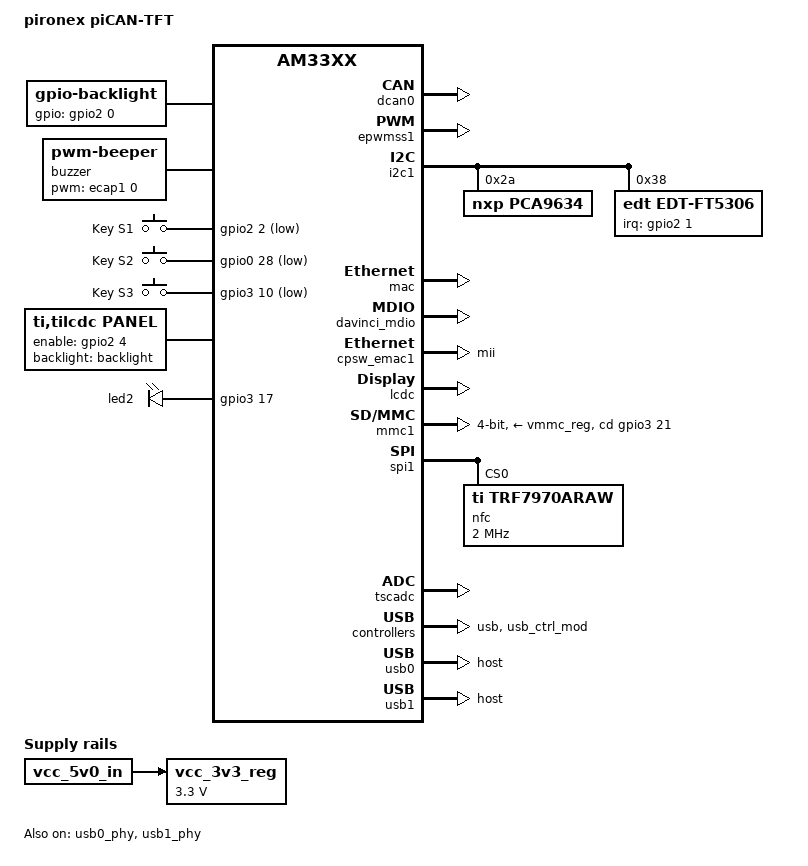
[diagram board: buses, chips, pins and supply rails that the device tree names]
/*
 * Copyright (C) 2016 pironex GmbH (http://www.pironex.de)
 *
 * This program is free software; you can redistribute it and/or modify
 * it under the terms of the GNU General Public License version 2 as
 * published by the Free Software Foundation.
 */
/dts-v1/;

#include "am335x-pia-pm.dtsi"
#include <dt-bindings/interrupt-controller/irq.h>

/ {
	model = "pironex piCAN-TFT";
	compatible = "pironex,am335x-pia-cantft", "pironex,am335x-pia-pm", "ti,am33xx";

	vcc_3v3_reg: fixedregulator@1 {
		compatible = "regulator-fixed";
		regulator-name = "vcc_3v3_reg";
		regulator-min-microvolt = <3300000>;
		regulator-max-microvolt = <3300000>;
		regulator-boot-on;
		regulator-always-on;
		vin-supply = <&vcc_5v0_in>; /* turned on with vaux2, supplied by vcc_5v0 */
	};

	backlight: backlight {
		pinctrl-names = "default";
		pinctrl-0 = <&backlight_pins>;
		
		compatible = "gpio-backlight";
		gpios = <&gpio2 0 GPIO_ACTIVE_HIGH>;
		default-on;
	};

	buzzer: buzzer {
		compatible = "pwm-beeper";
		pwms = <&ecap1 0 50000 1>;
	};

	buttons: gpio_buttons@0 {
		compatible = "gpio-keys";
		#address-cells = <1>;
		#size-cells = <0>;

		switch@1 {
			label = "Key S1";
			linux,code = <59>;
			gpios = <&gpio2 2 GPIO_ACTIVE_LOW>;
		};
		switch@2 {
			label = "Key S2";
			linux,code = <60>;
			gpios = <&gpio0 28 GPIO_ACTIVE_LOW>;
		};
		switch@3 {
			label = "Key S3";
			linux,code = <61>;
			gpios = <&gpio3 10 GPIO_ACTIVE_LOW>;
		};
	};

	panel {
		compatible = "ti,tilcdc,panel";
		/*pinctrl-names = "default", "sleep";*/
		pinctrl-names = "default";
		pinctrl-0 = <&lcd_pins_default>;
		/*pinctrl-1 = <&lcd_pins_sleep>;*/
		backlight = <&backlight>;
		enable-gpios = <&gpio2 4 GPIO_ACTIVE_HIGH>;
		status = "okay";

		panel-info {
			ac-bias           = <255>;
			ac-bias-intrpt    = <0>;
			dma-burst-sz      = <16>;
			bpp               = <32>;
			fdd               = <0x80>;
			sync-edge         = <0>;
			sync-ctrl         = <1>;
			raster-order      = <0>;
			fifo-th           = <0>;
		};

		display-timings {
			480x272 {
				hactive         = <480>;
				vactive         = <272>;
				hback-porch     = <43>; /* 2 */
				hfront-porch    = <8>; /* 2 */
				hsync-len       = <4>; /* 41 */
				vback-porch     = <12>; /* 2 */
				vfront-porch    = <4>; /* 2 */
				vsync-len       = <10>; /* 10 */
				clock-frequency = <9000000>;
				hsync-active    = <0>;
				vsync-active    = <0>;
			};
		};
	};
};

&am33xx_pinmux {
	board_pins: pinmux_board_pins {
		pinctrl-single,pins = <
			0x19C (PIN_OUTPUT | MUX_MODE7)	/* LED2: mcasp0_ahclkr.gpio3_17 */
		>;
	};

	backlight_pins: pinmux_backlight_pins {
		pinctrl-single,pins = <
			0x088 (PIN_OUTPUT | MUX_MODE7)	/* gpmc_csn3.gpio2_0 */
		>;
	};

	cpsw_default: cpsw_default {
		pinctrl-single,pins = <
			/* Slave 2 */
			0x040 (PIN_OUTPUT_PULLDOWN | MUX_MODE1)	/* gpmc_a0.gmii2_txen */
			0x044 (PIN_INPUT_PULLUP | MUX_MODE1)	/* gpmc_a1.mii2_rxdv */
			0x048 (PIN_OUTPUT_PULLDOWN | MUX_MODE1)	/* gpmc_a2.mii2_txd3 */
			0x04c (PIN_OUTPUT_PULLDOWN | MUX_MODE1)	/* gpmc_a3.mii2_txd2 */
			0x050 (PIN_OUTPUT_PULLDOWN | MUX_MODE1)	/* gpmc_a4.mii2_txd1 */
			0x054 (PIN_OUTPUT_PULLDOWN | MUX_MODE1)	/* gpmc_a5.mii2_txd0 */
			0x058 (PIN_INPUT_PULLUP | MUX_MODE1)	/* gpmc_a6.mii2_txclk */
			0x05c (PIN_INPUT_PULLUP | MUX_MODE1)	/* gpmc_a7.mii2_rxclk */
			0x060 (PIN_INPUT_PULLUP | MUX_MODE1)	/* gpmc_a8.mii2_rxd3 */
			0x064 (PIN_INPUT_PULLUP | MUX_MODE1)	/* gpmc_a9.mii2_rxd2 */
			0x068 (PIN_INPUT_PULLUP | MUX_MODE1)	/* gpmc_a10.mii2_rxd1 */
			0x06c (PIN_INPUT_PULLUP | MUX_MODE1)	/* gpmc_a11.mii2_rxd0 */
			0x070 (PIN_INPUT_PULLUP | MUX_MODE1)	/* gpmc_wait0.gmii2_crs */
			0x074 (PIN_INPUT_PULLUP | MUX_MODE1)	/* gpmc_wpn.gmii2_rxerr */
			0x078 (PIN_INPUT_PULLUP | MUX_MODE1)	/* gpmc_be1n.gmii2_col */
		>;
	};

	cpsw_sleep: cpsw_sleep {
		pinctrl-single,pins = <
			/* Slave 2 reset value */
			0x040 (PIN_INPUT_PULLDOWN | MUX_MODE7)
			0x044 (PIN_INPUT_PULLDOWN | MUX_MODE7)
			0x048 (PIN_INPUT_PULLDOWN | MUX_MODE7)
			0x04c (PIN_INPUT_PULLDOWN | MUX_MODE7)
			0x050 (PIN_INPUT_PULLDOWN | MUX_MODE7)
			0x054 (PIN_INPUT_PULLDOWN | MUX_MODE7)
			0x058 (PIN_INPUT_PULLDOWN | MUX_MODE7)
			0x05c (PIN_INPUT_PULLDOWN | MUX_MODE7)
			0x060 (PIN_INPUT_PULLDOWN | MUX_MODE7)
			0x064 (PIN_INPUT_PULLDOWN | MUX_MODE7)
			0x068 (PIN_INPUT_PULLDOWN | MUX_MODE7)
			0x06c (PIN_INPUT_PULLDOWN | MUX_MODE7)
			0x070 (PIN_INPUT_PULLDOWN | MUX_MODE7)
			0x074 (PIN_INPUT_PULLDOWN | MUX_MODE7)
			0x078 (PIN_INPUT_PULLDOWN | MUX_MODE7)
		>;
	};

	davinci_mdio_default: davinci_mdio_default {
		pinctrl-single,pins = <
			/* MDIO */
			0x148 (PIN_INPUT_PULLUP | SLEWCTRL_FAST | MUX_MODE0)	/* mdio_data.mdio_data */
			0x14c (PIN_OUTPUT_PULLUP | MUX_MODE0)			/* mdio_clk.mdio_clk */
		>;
	};

	davinci_mdio_sleep: davinci_mdio_sleep {
		pinctrl-single,pins = <
			/* MDIO reset value */
			0x148 (PIN_INPUT_PULLDOWN | MUX_MODE7)
			0x14c (PIN_INPUT_PULLDOWN | MUX_MODE7)
		>;
	};

	dcan0_pins: pinmux_dcan0_pins {
		pinctrl-single,pins = <
			0x11C (PIN_OUTPUT | MUX_MODE1)	/* mii1_txd3.dcan0_tx */
			0x120 (PIN_INPUT | MUX_MODE1)	/* mii1_txd2.dcan0_rx */
			0x134 (PIN_OUTPUT | MUX_MODE7)	/* mii1_rxd3.gpio2_18 */
		>;
	};

	ecap1_pins: buzzer_pins {
		pinctrl-single,pins = <
			0x160 (PIN_OUTPUT | MUX_MODE2)	/* spi0_cs1.ecap1_in_pwm1_out MODE4 */
		>;
	};

	edt_ft5306_ts_pins: edt_ft5306_ts_pins {
		pinctrl-single,pins = <
			0x8C (PIN_INPUT | MUX_MODE7)	/* gpmc_clk.gpio2_1 */
		>;
	};

	lcd_pins_default: lcd_pins_default {
		pinctrl-single,pins = <
			0x98 (PIN_OUTPUT | MUX_MODE7)	/* gpmc_wen.gpio2_4 */
			0x20 (PIN_OUTPUT | MUX_MODE1)	/* gpmc_ad8.lcd_data23 */
			0x24 (PIN_OUTPUT | MUX_MODE1)	/* gpmc_ad9.lcd_data22 */
			0x28 (PIN_OUTPUT | MUX_MODE1)	/* gpmc_ad10.lcd_data21 */
			0x2c (PIN_OUTPUT | MUX_MODE1)	/* gpmc_ad11.lcd_data20 */
			0x30 (PIN_OUTPUT | MUX_MODE1)	/* gpmc_ad12.lcd_data19 */
			0x34 (PIN_OUTPUT | MUX_MODE1)	/* gpmc_ad13.lcd_data18 */
			0x38 (PIN_OUTPUT | MUX_MODE1)	/* gpmc_ad14.lcd_data17 */
			0x3c (PIN_OUTPUT | MUX_MODE1)	/* gpmc_ad15.lcd_data16 */
			0xa0 (PIN_OUTPUT | MUX_MODE0)	/* lcd_data0.lcd_data0 */
			0xa4 (PIN_OUTPUT | MUX_MODE0)	/* lcd_data1.lcd_data1 */
			0xa8 (PIN_OUTPUT | MUX_MODE0)	/* lcd_data2.lcd_data2 */
			0xac (PIN_OUTPUT | MUX_MODE0)	/* lcd_data3.lcd_data3 */
			0xb0 (PIN_OUTPUT | MUX_MODE0)	/* lcd_data4.lcd_data4 */
			0xb4 (PIN_OUTPUT | MUX_MODE0)	/* lcd_data5.lcd_data5 */
			0xb8 (PIN_OUTPUT | MUX_MODE0)	/* lcd_data6.lcd_data6 */
			0xbc (PIN_OUTPUT | MUX_MODE0)	/* lcd_data7.lcd_data7 */
			0xc0 (PIN_OUTPUT | MUX_MODE0)	/* lcd_data8.lcd_data8 */
			0xc4 (PIN_OUTPUT | MUX_MODE0)	/* lcd_data9.lcd_data9 */
			0xc8 (PIN_OUTPUT | MUX_MODE0)	/* lcd_data10.lcd_data10 */
			0xcc (PIN_OUTPUT | MUX_MODE0)	/* lcd_data11.lcd_data11 */
			0xd0 (PIN_OUTPUT | MUX_MODE0)	/* lcd_data12.lcd_data12 */
			0xd4 (PIN_OUTPUT | MUX_MODE0)	/* lcd_data13.lcd_data13 */
			0xd8 (PIN_OUTPUT | MUX_MODE0)	/* lcd_data14.lcd_data14 */
			0xdc (PIN_OUTPUT | MUX_MODE0)	/* lcd_data15.lcd_data15 */
			0xe0 (PIN_OUTPUT | MUX_MODE0)	/* lcd_vsync.lcd_vsync */
			0xe4 (PIN_OUTPUT | MUX_MODE0)	/* lcd_hsync.lcd_hsync */
			0xe8 (PIN_OUTPUT | MUX_MODE0)	/* lcd_pclk.lcd_pclk */
			0xec (PIN_OUTPUT | MUX_MODE0)	/* lcd_ac_bias_en.lcd_ac_bias_en */
		>;
	};

	mmc1_pins: pinmux_mmc1_pins {
		pinctrl-single,pins = <
			0x0f0 (PIN_INPUT_PULLUP | MUX_MODE0)	/* mmc0_dat0.mmc0_dat0 */
			0x0f4 (PIN_INPUT_PULLUP | MUX_MODE0)	/* mmc0_dat1.mmc0_dat1 */
			0x0f8 (PIN_INPUT_PULLUP | MUX_MODE0)	/* mmc0_dat2.mmc0_dat2 */
			0x0fc (PIN_INPUT_PULLUP | MUX_MODE0)	/* mmc0_dat3.mmc0_dat3 */
			0x100 (PIN_INPUT_PULLUP | MUX_MODE0)	/* mmc0_clk.mmc0_clk */
			0x104 (PIN_INPUT_PULLUP | MUX_MODE0)	/* mmc0_cmd.mmc0_cmd */
			0x1AC (PIN_INPUT | MUX_MODE7)		/* mcasp0_ahclkx.gpio3_21 */
		>;
	};

	spi1_pins: pinmux_spi1 {
		pinctrl-single,pins = <
			0x190 (PIN_INPUT_PULLUP | MUX_MODE3)	/* mcasp0_aclkx.spi1_sclk */
			0x194 (PIN_OUTPUT | MUX_MODE3)		/* mcasp0_fsx.spi1_d0 */
			0x198 (PIN_INPUT_PULLUP | MUX_MODE3)	/* mcasp_axr0.spi1_d1 */
			0x144 (PIN_OUTPUT | MUX_MODE2)		/* rmii1_refclk.spi1_cs0 */
		>;
	};

	trf7970a_pins: pinmux_trf7970a_default {
		pinctrl-single,pins = <
			0x108 (PIN_OUTPUT | MUX_MODE7)		/* mii1_col.gpio3_0 */
			0x118 (PIN_INPUT_PULLUP | MUX_MODE7)	/* mii1_rxdv.gpio3_4 */ 
		>;
	};

	usb0_pins: pinmux_usb0_pins {
		pinctrl-single,pins = <
			0x21c (PIN_OUTPUT | MUX_MODE0)	/* usb0_drvvbus.usb0_drvvbus */
		>;
	};

	usb1_pins: pinmux_usb1_pins {
		pinctrl-single,pins = <
			0x234 (PIN_OUTPUT | MUX_MODE0)	/* usb1_drvvbus.usb1_drvvbus */
		>;
	};
};

&dcan0 {
	pinctrl-names = "default";
	pinctrl-0 = <&dcan0_pins>;

	status = "okay";
};

&dcan1 {
	status = "disabled";
};

&epwmss1 {
	status = "okay";

	ecap1: ecap@48302100 {
		status = "okay";
		pinctrl-names = "default";
		pinctrl-0 = <&ecap1_pins>;
	};
};

&i2c1 {
	pca9634: pca9634@2A {
		compatible = "nxp,pca9634";
		#address-cells = <1>;
		#size-cells = <0>;
		reg = <0x2A>;

		blue@0 {
			label = "led:b1";
			reg = <0>;
			linux,default-trigger = "none";
		};
		green@1 {
			label = "led:g1";
			reg = <1>;
			linux,default-trigger = "none";
		};
		red@2 {
			label = "led:r1";
			reg = <2>;
			linux,default-trigger = "none";
		};
		blue@3 {
			label = "led:b2";
			reg = <3>;
			linux,default-trigger = "none";
		};
		green@4 {
			label = "led:g2";
			reg = <4>;
			linux,default-trigger = "none";
		};
		red@5 {
			label = "led:r2";
			reg = <5>;
			linux,default-trigger = "none";
		};
	};

	edt-ft5306@38 {
		status = "okay";
		compatible = "edt,edt-ft5306", "edt,edt-ft5x06";
		pinctrl-names = "default";
		pinctrl-0 = <&edt_ft5306_ts_pins>;

		reg = <0x38>;
		interrupt-parent = <&gpio2>;
		interrupts = <1 IRQ_TYPE_EDGE_FALLING>;

		touchscreen-size-x = <480>;
		touchscreen-size-y = <272>;
	};
};

&leds {
	led@2 {
		label = "led2";
		gpios = <&gpio3 17 GPIO_ACTIVE_HIGH>;
		linux,default-trigger = "timer";
		default-state = "off";
	};
};

&mac {
	pinctrl-names = "default", "sleep";
	pinctrl-0 = <&cpsw_default>;
	pinctrl-1 = <&cpsw_sleep>;
	active_slave = <1>; /* only MII2 connected */

	status = "okay";
};

&davinci_mdio {
	pinctrl-names = "default", "sleep";
	pinctrl-0 = <&davinci_mdio_default>;
	pinctrl-1 = <&davinci_mdio_sleep>;

	status = "okay";
};

&cpsw_emac1 {
	phy_id = <&davinci_mdio>, <0>;
	phy-mode = "mii";
};

&lcdc {
	blue-and-red-wiring = "crossed";
	status = "okay";
};

/* uSD */
&mmc1 {
	vmmc-supply = <&vmmc_reg>;
	bus-width = <4>; /* 4 data lines */
	pinctrl-names = "default";
	pinctrl-0 = <&mmc1_pins>;
	cd-gpios = <&gpio3 21 GPIO_ACTIVE_HIGH>;

	status = "okay";
};

&spi1 {
	pinctrl-names = "default";
	pinctrl-0 = <&spi1_pins>;
	ti,pindir-d0-out-d1-in;

	status = "okay";

//	nfc@0 {
//		compatible = "ti,trf7970a";
//		reg = <0>;
//		pinctrl-names = "default";
//		pinctrl-0 = <&trf7970a_default>;
//		spi-max-frequency = <2000000>;
//		interrupt-parent = <&gpio3>;
//		interrupts = <4 0>;
//		ti,enable-gpios = <&gpio3 0 GPIO_ACTIVE_HIGH>,
//				  <&gpio3 18 GPIO_ACTIVE_HIGH>;
//		vin-supply = <&vcc_5v0_in>;
//		vin-voltage-override = <5000000>;
//		autosuspend-delay = <30000>;
//		irq-status-read-quirk;
//		/*en2-rf-quirk;*/
//		t5t-rmb-extra-byte-quirk;
//		status = "okay";
//	};
	nfc@0 {
		pinctrl-0 = <&trf7970a_pins>;
		pinctrl-names = "default";
		compatible = "ti,trf7970araw";
		reg = <0>;
		spi-max-frequency = <2000000>;
		status = "ok";
	};

};

&tscadc {
	status = "okay";

	tsc {
		ti,wires = <4>;
		ti,x-plate-resistance = <200>;
		ti,coordinate-readouts = <5>;
		ti,wire-config = <0x01 0x10 0x22 0x33>;
	};
};

&usb {
	status = "okay";
};

&usb_ctrl_mod {
	status = "okay";
};

&usb0_phy {
	pinctrl-names = "default";
	pinctrl-0 = <&usb0_pins>;

	status = "okay";
};

&usb1_phy {
	pinctrl-names = "default";
	pinctrl-0 = <&usb1_pins>;

	status = "okay";
};

&usb0 {
	status = "okay";
	dr_mode = "host";
};

&usb1 {
	status = "okay";
	dr_mode = "host";
};

&cppi41dma  {
	status = "okay";
};

